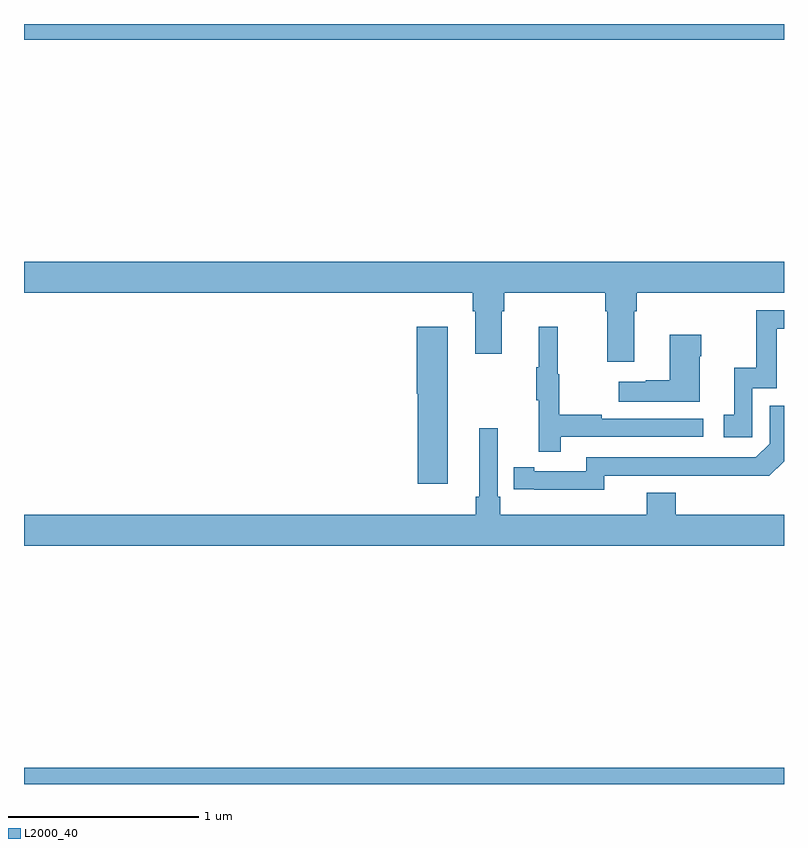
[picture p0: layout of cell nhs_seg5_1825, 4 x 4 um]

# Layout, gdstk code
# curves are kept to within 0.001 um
import gdstk
lib = gdstk.Library(unit=1e-6, precision=1e-09)
def R(c, l, rs):  # rectangles x0, y0, x1, y1
    for r in rs: c.add(gdstk.rectangle(r[:2], r[2:], *l))
def P(c, l, *ps):  # polygons
    for p in ps: c.add(gdstk.Polygon(p, *l))
L2000_40 = (2000, 40)

nhs_seg5_1825 = lib.new_cell('nhs_seg5_1825')
R(nhs_seg5_1825, L2000_40, [(219,896.799,223,896.884), (219,900.716,223,900.799)])
P(nhs_seg5_1825, L2000_40, [(222.211,899.288),(222.224,899.288),(222.224,899.384),(223,899.384),(223,899.548),(219,899.548),(219,899.384),(221.363,899.384),(221.363,899.288),(221.375,899.288),(221.375,899.064),(221.515,899.064),(221.515,899.288),(221.528,899.288),(221.528,899.384),(222.059,899.384),(222.059,899.288),(222.071,899.288),(222.071,899.022),(222.211,899.022)],
  [(222.834,898.881),(222.963,898.881),(222.963,899.196),(223,899.196),(223,899.292),(222.855,899.292),(222.855,898.99),(222.737,898.99),(222.737,898.743),(222.684,898.743),(222.684,898.623),(222.834,898.623)],
  [(221.23,899.206),(221.066,899.206),(221.066,898.854),(221.072,898.854),(221.072,898.38),(221.23,898.38)],
  [(221.825,898.626),(222.574,898.626),(222.574,898.722),(222.041,898.722),(222.041,898.742),(221.818,898.742),(221.818,898.956),(221.81,898.956),(221.81,899.206),(221.708,899.206),(221.708,898.993),(221.697,898.993),(221.697,898.819),(221.708,898.819),(221.708,898.548),(221.825,898.548)],
  [(222.556,899.051),(222.564,899.051),(222.564,899.164),(222.398,899.164),(222.398,898.925),(222.272,898.925),(222.272,898.915),(222.129,898.915),(222.129,898.811),(222.556,898.811)],
  [(222.054,898.422),(222.922,898.421),(223,898.498),(223,898.791),(222.924,898.791),(222.924,898.59),(222.852,898.518),(221.958,898.518),(221.958,898.446),(221.686,898.446),(221.686,898.466),(221.578,898.466),(221.578,898.35),(222.054,898.349)],
  [(223,898.216),(222.431,898.216),(222.431,898.333),(222.278,898.333),(222.278,898.216),(221.507,898.216),(221.507,898.312),(221.493,898.312),(221.493,898.672),(221.396,898.672),(221.396,898.312),(221.377,898.312),(221.377,898.216),(219,898.216),(219,898.052),(223,898.052)])

lib.write_gds('nhs_seg5_1825.gds')
